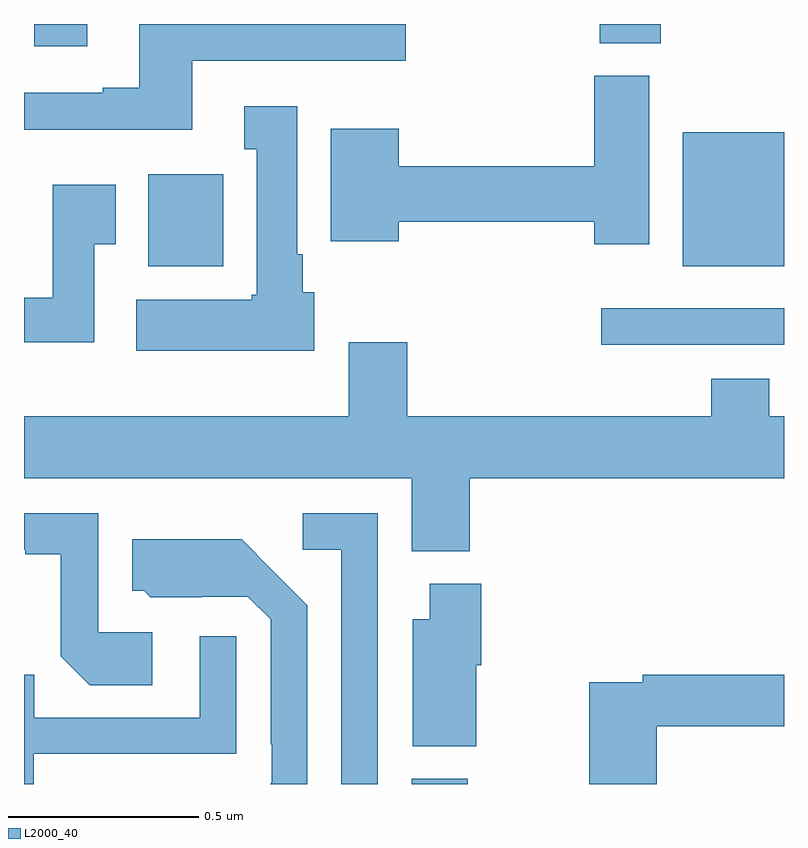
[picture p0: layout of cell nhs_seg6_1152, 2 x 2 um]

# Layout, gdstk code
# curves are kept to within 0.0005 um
import gdstk
lib = gdstk.Library(unit=1e-6, precision=1e-09)
def R(c, l, rs):  # rectangles x0, y0, x1, y1
    for r in rs: c.add(gdstk.rectangle(r[:2], r[2:], *l))
def P(c, l, *ps):  # polygons
    for p in ps: c.add(gdstk.Polygon(p, *l))
L2000_40 = (2000, 40)

nhs_seg6_1152 = lib.new_cell('nhs_seg6_1152')
R(nhs_seg6_1152, L2000_40, [(126.02,978.5,126.168,978.514), (126.519,979.656,127,979.752), (125.327,979.862,125.524,980.104), (126.734,979.862,127,980.215), (125.027,980.442,125.167,980.5), (126.515,980.449,126.675,980.5)])
P(nhs_seg6_1152, L2000_40, [(125.443,980.403),(126.004,980.403),(126.004,980.5),(125.303,980.5),(125.303,980.332),(125.207,980.332),(125.207,980.319),(125,980.319),(125,980.222),(125.443,980.222)],
  [(126.646,980.364),(126.5,980.364),(126.5,980.126),(125.986,980.126),(125.986,980.224),(125.807,980.224),(125.807,979.928),(125.986,979.928),(125.986,979.979),(126.5,979.979),(126.5,979.92),(126.646,979.92)],
  [(125.764,979.794),(125.734,979.794),(125.734,979.894),(125.719,979.894),(125.719,980.284),(125.579,980.284),(125.579,980.171),(125.612,980.171),(125.612,979.788),(125.599,979.788),(125.599,979.774),(125.295,979.774),(125.295,979.64),(125.764,979.64)],
  [(125.185,979.921),(125.242,979.921),(125.242,980.077),(125.075,980.077),(125.075,979.78),(125,979.78),(125,979.662),(125.185,979.662)],
  [(126.173,979.304),(127,979.304),(127,979.468),(126.961,979.468),(126.961,979.567),(126.809,979.567),(126.809,979.468),(126.008,979.468),(126.008,979.663),(125.855,979.663),(125.855,979.468),(125,979.468),(125,979.304),(126.02,979.304),(126.02,979.112),(126.173,979.112)],
  [(125.338,978.9),(125.196,978.9),(125.196,979.212),(125,979.212),(125,979.116),(125.003,979.116),(125.003,979.104),(125.097,979.104),(125.097,978.836),(125.173,978.76),(125.338,978.76)],
  [(125.931,979.212),(125.733,979.212),(125.733,979.116),(125.835,979.116),(125.835,978.5),(125.931,978.5)],
  [(125.745,978.97),(125.573,979.144),(125.285,979.144),(125.285,979.008),(125.316,979.008),(125.332,978.992),(125.466,978.992),(125.466,978.993),(125.589,978.993),(125.649,978.933),(125.649,978.604),(125.652,978.604),(125.652,978.504),(125.648,978.5),(125.745,978.5)],
  [(126.19,978.813),(126.203,978.813),(126.203,979.027),(126.068,979.027),(126.068,978.934),(126.023,978.934),(126.023,978.599),(126.19,978.599)],
  [(125.025,978.579),(125.559,978.579),(125.559,978.889),(125.463,978.889),(125.463,978.675),(125.027,978.675),(125.027,978.788),(125,978.788),(125,978.5),(125.025,978.5)],
  [(126.665,978.652),(127,978.652),(127,978.788),(126.628,978.788),(126.628,978.768),(126.487,978.768),(126.487,978.5),(126.665,978.5)])

lib.write_gds('nhs_seg6_1152.gds')
